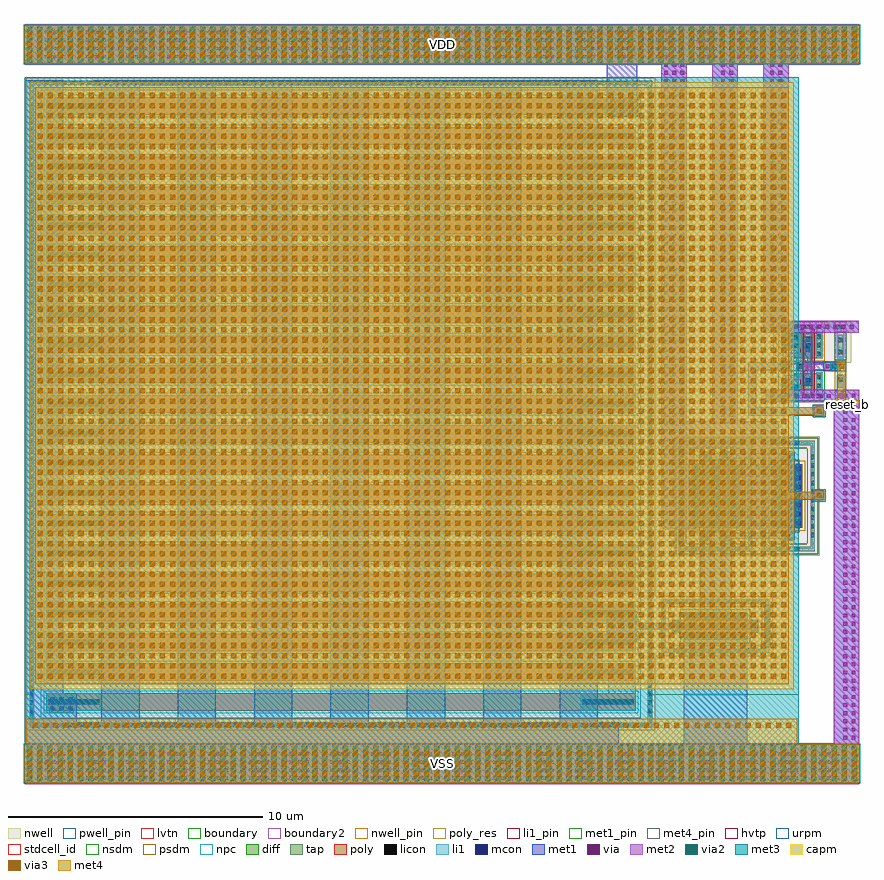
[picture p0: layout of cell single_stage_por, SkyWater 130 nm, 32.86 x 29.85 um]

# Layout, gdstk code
from math import pi, radians
import gdstk
lib = gdstk.Library(unit=1e-6, precision=1e-09)
def R(c, l, rs):  # rectangles x0, y0, x1, y1
    for r in rs: c.add(gdstk.rectangle(r[:2], r[2:], *l))
def A(c, l, x, y, w, h, nx, ny, dx, dy):  # array of equal rectangles
    R(c, l, [(x+i*dx, y+j*dy, x+i*dx+w, y+j*dy+h) for i in range(nx) for j in range(ny)])
def P(c, l, *ps):  # polygons
    for p in ps: c.add(gdstk.Polygon(p, *l))
nwell_pin = (64, 16)
nwell = (64, 20)
diff = (65, 20)
tap = (65, 44)
poly_res = (66, 13)
poly = (66, 20)
licon = (66, 44)
li1_pin = (67, 16)
li1 = (67, 20)
mcon = (67, 44)
met1_pin = (68, 16)
met1 = (68, 20)
via = (68, 44)
met2 = (69, 20)
via2 = (69, 44)
met3 = (70, 20)
via3 = (70, 44)
met4_pin = (71, 16)
met4 = (71, 20)
hvtp = (78, 44)
urpm = (79, 20)
stdcell_id = (81, 4)
capm = (89, 44)
nsdm = (93, 44)
psdm = (94, 20)
npc = (95, 20)
pwell_pin = (122, 16)
lvtn = (125, 44)
boundary = (235, 4)
boundary2 = (236, 0)

sky130_fd_pr__res_xhigh_ = lib.new_cell('sky130_fd_pr__res_xhigh_po_0p69_JJJUAV')
R(sky130_fd_pr__res_xhigh_, tap, [(-12.695,-12.23,12.695,-12.06), (-12.695,-12.06,-12.525,12.06), (12.525,-12.06,12.695,12.06), (-12.695,12.06,12.695,12.23)])
A(sky130_fd_pr__res_xhigh_, poly_res, -12.045, -9.5, 0.69, 19, 21, 1, 1.17, 0)
A(sky130_fd_pr__res_xhigh_, poly, -12.045, -11.58, 0.69, 23.16, 21, 1, 1.17, 0)
A(sky130_fd_pr__res_xhigh_, licon, -12.155, -12.23, 0.17, 0.17, 72, 2, 0.34, 24.29)
A(sky130_fd_pr__res_xhigh_, licon, -12.695, -11.645, 0.17, 0.17, 1, 69, 0, 0.34)
A(sky130_fd_pr__res_xhigh_, licon, 12.525, -11.645, 0.17, 0.17, 1, 69, 0, 0.34)
A(sky130_fd_pr__res_xhigh_, licon, -11.795, -11.5, 0.19, 2, 21, 2, 1.17, 21)
A(sky130_fd_pr__res_xhigh_, li1, -12.045, -11.58, 0.69, 2.16, 21, 2, 1.17, 21)
R(sky130_fd_pr__res_xhigh_, li1, [(-12.695,-12.23,12.695,-12.06), (-12.695,-12.06,-12.525,12.06), (12.525,-12.06,12.695,12.06), (-12.695,12.06,12.695,12.23)])
A(sky130_fd_pr__res_xhigh_, mcon, -11.245, -12.23, 0.17, 0.17, 63, 1, 0.36, 0)
A(sky130_fd_pr__res_xhigh_, mcon, 12.525, -10.705, 0.17, 0.17, 1, 60, 0, 0.36)
A(sky130_fd_pr__res_xhigh_, mcon, -12.695, -9.625, 0.17, 0.17, 1, 54, 0, 0.36)
R(sky130_fd_pr__res_xhigh_, met1, [(-11.335,-12.26,11.335,-12.03), (12.495,-10.915,12.725,10.915), (-12.725,-9.71,-12.495,9.71)])
R(sky130_fd_pr__res_xhigh_, urpm, [(-12.335,-11.78,12.335,11.78)])
R(sky130_fd_pr__res_xhigh_, psdm, [(-12.82,-12.355,12.82,12.355)])
A(sky130_fd_pr__res_xhigh_, npc, -12.14, -11.675, 0.88, 23.35, 21, 1, 1.17, 0)
R(sky130_fd_pr__res_xhigh_, boundary, [(-12.61,-12.145,12.61,12.145)])

sky130_fd_pr__nfet_01v8_ = lib.new_cell('sky130_fd_pr__nfet_01v8_lvt_ZAB8C6')
R(sky130_fd_pr__nfet_01v8_, diff, [(-0.54,-1.25,0.54,1.25)])
R(sky130_fd_pr__nfet_01v8_, tap, [(-1.05,-2.12,1.05,-1.95), (-1.05,-1.95,-0.88,1.95), (0.88,-1.95,1.05,1.95), (-1.05,1.95,1.05,2.12)])
R(sky130_fd_pr__nfet_01v8_, poly, [(-0.25,-1.69,0.25,1.69)])
A(sky130_fd_pr__nfet_01v8_, licon, -0.425, -2.12, 0.17, 0.17, 3, 2, 0.34, 4.07)
A(sky130_fd_pr__nfet_01v8_, licon, -1.05, -1.615, 0.17, 0.17, 1, 10, 0, 0.34)
A(sky130_fd_pr__nfet_01v8_, licon, 0.88, -1.615, 0.17, 0.17, 1, 10, 0, 0.34)
A(sky130_fd_pr__nfet_01v8_, licon, -0.48, -1.105, 0.17, 0.17, 1, 7, 0, 0.34)
A(sky130_fd_pr__nfet_01v8_, licon, 0.31, -1.105, 0.17, 0.17, 1, 7, 0, 0.34)
R(sky130_fd_pr__nfet_01v8_, licon, [(-0.085,-1.61,0.085,-1.44), (-0.085,1.44,0.085,1.61)])
R(sky130_fd_pr__nfet_01v8_, li1, [(-1.05,-2.12,1.05,-1.95), (-1.05,-1.95,-0.88,1.95), (0.88,-1.95,1.05,1.95), (-0.25,-1.61,0.25,-1.44), (-0.48,-1.27,-0.31,1.27), (0.31,-1.27,0.48,1.27), (-0.25,1.44,0.25,1.61), (-1.05,1.95,1.05,2.12)])
A(sky130_fd_pr__nfet_01v8_, mcon, -0.625, -2.12, 0.17, 0.17, 4, 1, 0.36, 0)
A(sky130_fd_pr__nfet_01v8_, mcon, -1.05, -1.345, 0.17, 0.17, 1, 8, 0, 0.36)
A(sky130_fd_pr__nfet_01v8_, mcon, -0.48, -1.165, 0.17, 0.17, 1, 7, 0, 0.36)
A(sky130_fd_pr__nfet_01v8_, mcon, 0.31, -1.165, 0.17, 0.17, 1, 7, 0, 0.36)
R(sky130_fd_pr__nfet_01v8_, mcon, [(-0.085,-1.61,0.085,-1.44), (-0.085,1.44,0.085,1.61)])
R(sky130_fd_pr__nfet_01v8_, met1, [(-0.85,-2.15,0.85,-1.92), (-0.23,-1.64,0.23,-1.41), (-1.08,-1.525,-0.85,1.525), (-0.51,-1.25,-0.28,1.25), (0.28,-1.25,0.51,1.25), (-0.23,1.41,0.23,1.64)])
R(sky130_fd_pr__nfet_01v8_, nsdm, [(-0.665,-1.375,0.665,1.375)])
R(sky130_fd_pr__nfet_01v8_, psdm, [(-1.175,-2.245,1.175,-1.825), (-1.175,-1.825,-0.755,1.825), (0.755,-1.825,1.175,1.825), (-1.175,1.825,1.175,2.245)])
R(sky130_fd_pr__nfet_01v8_, npc, [(-0.185,-1.71,0.185,-1.34), (-0.185,1.34,0.185,1.71)])
R(sky130_fd_pr__nfet_01v8_, lvtn, [(-0.43,-1.43,0.43,1.43)])
R(sky130_fd_pr__nfet_01v8_, boundary, [(-0.965,-2.035,0.965,2.035)])

sky130_fd_pr__pfet_01v8_ = lib.new_cell('sky130_fd_pr__pfet_01v8_hvt_RUWLFK')
R(sky130_fd_pr__pfet_01v8_, nwell, [(-1.625,-2.345,1.625,2.345)])
R(sky130_fd_pr__pfet_01v8_, diff, [(-0.935,-1.25,0.935,1.25)])
R(sky130_fd_pr__pfet_01v8_, tap, [(-1.445,-2.165,1.445,-1.995), (-1.445,-1.995,-1.275,1.995), (1.275,-1.995,1.445,1.995), (-1.445,1.995,1.445,2.165)])
R(sky130_fd_pr__pfet_01v8_, poly, [(-0.645,-1.735,-0.145,1.735), (0.145,-1.735,0.645,1.735)])
A(sky130_fd_pr__pfet_01v8_, licon, -0.935, -2.165, 0.17, 0.17, 6, 2, 0.34, 4.16)
A(sky130_fd_pr__pfet_01v8_, licon, -1.445, -1.615, 0.17, 0.17, 1, 10, 0, 0.34)
A(sky130_fd_pr__pfet_01v8_, licon, 1.275, -1.615, 0.17, 0.17, 1, 10, 0, 0.34)
A(sky130_fd_pr__pfet_01v8_, licon, -0.875, -1.105, 0.17, 0.17, 3, 7, 0.79, 0.34)
R(sky130_fd_pr__pfet_01v8_, licon, [(-0.48,-1.655,-0.31,-1.485), (0.31,-1.655,0.48,-1.485), (-0.48,1.485,-0.31,1.655), (0.31,1.485,0.48,1.655)])
A(sky130_fd_pr__pfet_01v8_, li1, -0.875, -1.27, 0.17, 2.54, 3, 1, 0.79, 0)
R(sky130_fd_pr__pfet_01v8_, li1, [(-1.445,-2.165,1.445,-1.995), (-1.445,-1.995,-1.275,1.995), (1.275,-1.995,1.445,1.995), (-0.645,-1.655,-0.145,-1.485), (0.145,-1.655,0.645,-1.485), (-0.645,1.485,-0.145,1.655), (0.145,1.485,0.645,1.655), (-1.445,1.995,1.445,2.165)])
A(sky130_fd_pr__pfet_01v8_, mcon, -1.445, -1.705, 0.17, 0.17, 1, 10, 0, 0.36)
A(sky130_fd_pr__pfet_01v8_, mcon, -0.875, -1.165, 0.17, 0.17, 3, 7, 0.79, 0.36)
A(sky130_fd_pr__pfet_01v8_, mcon, 1.275, -0.985, 0.17, 0.17, 1, 6, 0, 0.36)
R(sky130_fd_pr__pfet_01v8_, mcon, [(-0.48,-1.655,-0.31,-1.485), (0.31,-1.655,0.48,-1.485), (-0.48,1.485,-0.31,1.655), (0.31,1.485,0.48,1.655)])
A(sky130_fd_pr__pfet_01v8_, met1, -0.905, -1.25, 0.23, 2.5, 3, 1, 0.79, 0)
R(sky130_fd_pr__pfet_01v8_, met1, [(-1.475,-1.855,-1.245,1.855), (-0.625,-1.685,-0.165,-1.455), (0.165,-1.685,0.625,-1.455), (1.245,-1.06,1.475,1.06), (-0.625,1.455,-0.165,1.685), (0.165,1.455,0.625,1.685)])
R(sky130_fd_pr__pfet_01v8_, hvtp, [(-0.825,-1.43,0.825,1.43)])
R(sky130_fd_pr__pfet_01v8_, nsdm, [(-1.57,-2.29,1.57,-1.87), (-1.57,-1.87,-1.15,1.87), (1.15,-1.87,1.57,1.87), (-1.57,1.87,1.57,2.29)])
R(sky130_fd_pr__pfet_01v8_, psdm, [(-1.06,-1.375,1.06,1.375)])
R(sky130_fd_pr__pfet_01v8_, npc, [(-0.58,-1.755,-0.21,-1.385), (0.21,-1.755,0.58,-1.385), (-0.58,1.385,-0.21,1.755), (0.21,1.385,0.58,1.755)])
R(sky130_fd_pr__pfet_01v8_, boundary, [(-1.36,-2.08,1.36,2.08)])

c_sky130_fd_pr__pfet_01v8_ = lib.new_cell('sky130_fd_pr__pfet_01v8_hvt_48T65H')
R(c_sky130_fd_pr__pfet_01v8_, nwell, [(-1.23,-2.345,1.23,2.345)])
R(c_sky130_fd_pr__pfet_01v8_, diff, [(-0.54,-1.25,0.54,1.25)])
R(c_sky130_fd_pr__pfet_01v8_, tap, [(-1.05,-2.165,1.05,-1.995), (-1.05,-1.995,-0.88,1.995), (0.88,-1.995,1.05,1.995), (-1.05,1.995,1.05,2.165)])
R(c_sky130_fd_pr__pfet_01v8_, poly, [(-0.25,-1.735,0.25,1.735)])
A(c_sky130_fd_pr__pfet_01v8_, licon, -0.425, -2.165, 0.17, 0.17, 3, 2, 0.34, 4.16)
A(c_sky130_fd_pr__pfet_01v8_, licon, -1.05, -1.615, 0.17, 0.17, 1, 10, 0, 0.34)
A(c_sky130_fd_pr__pfet_01v8_, licon, 0.88, -1.615, 0.17, 0.17, 1, 10, 0, 0.34)
A(c_sky130_fd_pr__pfet_01v8_, licon, -0.48, -1.105, 0.17, 0.17, 1, 7, 0, 0.34)
A(c_sky130_fd_pr__pfet_01v8_, licon, 0.31, -1.105, 0.17, 0.17, 1, 7, 0, 0.34)
R(c_sky130_fd_pr__pfet_01v8_, licon, [(-0.085,-1.655,0.085,-1.485), (-0.085,1.485,0.085,1.655)])
R(c_sky130_fd_pr__pfet_01v8_, li1, [(-1.05,-2.165,1.05,-1.995), (-1.05,-1.995,-0.88,1.995), (0.88,-1.995,1.05,1.995), (-0.25,-1.655,0.25,-1.485), (-0.48,-1.27,-0.31,1.27), (0.31,-1.27,0.48,1.27), (-0.25,1.485,0.25,1.655), (-1.05,1.995,1.05,2.165)])
A(c_sky130_fd_pr__pfet_01v8_, mcon, -0.48, -1.165, 0.17, 0.17, 1, 7, 0, 0.36)
A(c_sky130_fd_pr__pfet_01v8_, mcon, 0.31, -1.165, 0.17, 0.17, 1, 7, 0, 0.36)
A(c_sky130_fd_pr__pfet_01v8_, mcon, -1.05, -0.985, 0.17, 0.17, 1, 6, 0, 0.36)
R(c_sky130_fd_pr__pfet_01v8_, mcon, [(-0.085,-1.655,0.085,-1.485), (-0.085,1.485,0.085,1.655)])
R(c_sky130_fd_pr__pfet_01v8_, met1, [(-0.23,-1.685,0.23,-1.455), (-0.51,-1.25,-0.28,1.25), (0.28,-1.25,0.51,1.25), (-1.08,-1.06,-0.85,1.06), (-0.23,1.455,0.23,1.685)])
R(c_sky130_fd_pr__pfet_01v8_, hvtp, [(-0.43,-1.43,0.43,1.43)])
R(c_sky130_fd_pr__pfet_01v8_, nsdm, [(-1.175,-2.29,1.175,-1.87), (-1.175,-1.87,-0.755,1.87), (0.755,-1.87,1.175,1.87), (-1.175,1.87,1.175,2.29)])
R(c_sky130_fd_pr__pfet_01v8_, psdm, [(-0.665,-1.375,0.665,1.375)])
R(c_sky130_fd_pr__pfet_01v8_, npc, [(-0.185,-1.755,0.185,-1.385), (-0.185,1.385,0.185,1.755)])
R(c_sky130_fd_pr__pfet_01v8_, boundary, [(-0.965,-2.08,0.965,2.08)])

sky130_fd_sc_hd__buf_2 = lib.new_cell('sky130_fd_sc_hd__buf_2')
R(sky130_fd_sc_hd__buf_2, nwell_pin, [(0.145,2.635,0.315,2.805)])
R(sky130_fd_sc_hd__buf_2, nwell, [(-0.19,1.305,2.03,2.91)])
P(sky130_fd_sc_hd__buf_2, diff, [(1.705,2.485),(0.62,2.485),(0.62,2.445),(0.135,2.445),(0.135,1.805),(0.62,1.805),(0.62,1.485),(1.705,1.485)],
  [(1.705,0.885),(0.62,0.885),(0.62,0.655),(0.135,0.655),(0.135,0.235),(1.705,0.235)])
P(sky130_fd_sc_hd__buf_2, poly, [(1.44,2.615),(1.29,2.615),(1.29,1.325),(1.02,1.325),(1.02,2.615),(0.87,2.615),(0.87,1.325),(0.755,1.325),(0.755,0.995),(0.87,0.995),(0.87,0.105),(1.02,0.105),(1.02,0.995),(1.29,0.995),(1.29,0.105),(1.44,0.105)],
  [(0.545,2.575),(0.395,2.575),(0.395,1.325),(0.135,1.325),(0.135,0.995),(0.395,0.995),(0.395,0.105),(0.545,0.105)])
A(sky130_fd_sc_hd__buf_2, licon, 1.49, 1.575, 0.17, 0.17, 1, 3, 0, 0.34)
R(sky130_fd_sc_hd__buf_2, licon, [(0.64,0.295,0.81,0.465), (1.49,0.315,1.66,0.485), (0.175,0.36,0.345,0.53), (1.07,0.445,1.24,0.615), (1.49,0.655,1.66,0.825), (0.185,1.075,0.355,1.245), (0.805,1.075,0.975,1.245), (1.07,1.73,1.24,1.9), (0.175,1.875,0.345,2.045), (0.64,1.875,0.81,2.045), (1.07,2.135,1.24,2.305), (0.175,2.215,0.345,2.385), (0.64,2.215,0.81,2.385)])
R(sky130_fd_sc_hd__buf_2, li1_pin, [(0.145,-0.085,0.315,0.085), (1.06,0.425,1.23,0.595), (0.145,1.105,0.315,1.275), (1.06,1.785,1.23,1.955), (1.06,2.125,1.23,2.295), (0.145,2.635,0.315,2.805)])
R(sky130_fd_sc_hd__buf_2, li1, [(0.085,0.985,0.44,1.355)])
P(sky130_fd_sc_hd__buf_2, li1, [(0.975,1.325),(0.89,1.325),(0.89,1.705),(0.345,1.705),(0.345,2.465),(0.175,2.465),(0.175,1.535),(0.72,1.535),(0.72,0.805),(0.175,0.805),(0.175,0.255),(0.345,0.255),(0.345,0.635),(0.89,0.635),(0.89,0.995),(0.975,0.995)],
  [(1.315,2.465),(1.06,2.465),(1.06,1.56),(1.145,1.56),(1.145,0.83),(1.06,0.83),(1.06,0.255),(1.315,0.255)],
  [(1.84,2.805),(0,2.805),(0,2.635),(0.56,2.635),(0.56,1.875),(0.89,1.875),(0.89,2.635),(1.49,2.635),(1.49,1.485),(1.75,1.485),(1.75,2.635),(1.84,2.635)],
  [(1.84,0.085),(1.75,0.085),(1.75,0.925),(1.49,0.925),(1.49,0.085),(0.89,0.085),(0.89,0.465),(0.56,0.465),(0.56,0.085),(0,0.085),(0,-0.085),(1.84,-0.085)])
A(sky130_fd_sc_hd__buf_2, mcon, 0.145, -0.085, 0.17, 0.17, 4, 2, 0.46, 2.72)
R(sky130_fd_sc_hd__buf_2, met1_pin, [(0.145,-0.085,0.315,0.085), (0.145,2.635,0.315,2.805)])
R(sky130_fd_sc_hd__buf_2, hvtp, [(0,1.25,1.84,2.72)])
R(sky130_fd_sc_hd__buf_2, stdcell_id, [(0,0,1.84,2.72)])
R(sky130_fd_sc_hd__buf_2, nsdm, [(0,-0.19,1.84,1.015)])
R(sky130_fd_sc_hd__buf_2, psdm, [(0,1.355,1.84,2.91)])
R(sky130_fd_sc_hd__buf_2, npc, [(0,0.975,1.84,1.345)])
R(sky130_fd_sc_hd__buf_2, pwell_pin, [(0.145,-0.085,0.315,0.085)])
R(sky130_fd_sc_hd__buf_2, boundary2, [(0,0,1.84,2.72)])
sky130_fd_sc_hd__buf_2.add(gdstk.FlexPath([(0,0),(1.84,0)], 0.48, ends="flush", simple_path=True, layer=68, datatype=20))  # met1
sky130_fd_sc_hd__buf_2.add(gdstk.FlexPath([(0,2.72),(1.84,2.72)], 0.48, ends="flush", simple_path=True, layer=68, datatype=20))  # met1
sky130_fd_sc_hd__buf_2.add(gdstk.Label('VPWR', (0.23,2.72), layer=68, texttype=5))
sky130_fd_sc_hd__buf_2.add(gdstk.Label('VGND', (0.23,0), layer=68, texttype=5))
sky130_fd_sc_hd__buf_2.add(gdstk.Label('VPWR', (0.23,2.72), layer=67, texttype=5))
sky130_fd_sc_hd__buf_2.add(gdstk.Label('VGND', (0.23,0), layer=67, texttype=5))
sky130_fd_sc_hd__buf_2.add(gdstk.Label('X', (1.145,0.51), layer=67, texttype=5))
sky130_fd_sc_hd__buf_2.add(gdstk.Label('X', (1.145,1.87), layer=67, texttype=5))
sky130_fd_sc_hd__buf_2.add(gdstk.Label('X', (1.145,2.21), layer=67, texttype=5))
sky130_fd_sc_hd__buf_2.add(gdstk.Label('A', (0.23,1.19), layer=67, texttype=5))
sky130_fd_sc_hd__buf_2.add(gdstk.Label('VPB', (0.23,2.72), layer=64, texttype=5))
sky130_fd_sc_hd__buf_2.add(gdstk.Label('VNB', (0.23,0), layer=64, texttype=59))
sky130_fd_sc_hd__buf_2.add(gdstk.Label('buf_2', (0,0), layer=83, texttype=44))

sky130_fd_sc_hd__tapvpwr = lib.new_cell('sky130_fd_sc_hd__tapvpwrvgnd_1')
R(sky130_fd_sc_hd__tapvpwr, nwell, [(-0.19,1.305,0.65,2.91)])
R(sky130_fd_sc_hd__tapvpwr, tap, [(0.145,0.32,0.315,0.845), (0.145,1.525,0.315,2.4)])
R(sky130_fd_sc_hd__tapvpwr, licon, [(0.145,0.555,0.315,0.725), (0.145,1.645,0.315,1.815), (0.145,2.11,0.315,2.28)])
R(sky130_fd_sc_hd__tapvpwr, li1, [(0,-0.085,0.46,0.085), (0.085,0,0.375,0.81), (0.085,1.47,0.375,2.72), (0,2.635,0.46,2.805)])
R(sky130_fd_sc_hd__tapvpwr, mcon, [(0.145,-0.085,0.315,0.085), (0.145,2.635,0.315,2.805)])
R(sky130_fd_sc_hd__tapvpwr, met1_pin, [(0.105,-0.09,0.36,0.1), (0.11,2.62,0.375,2.765)])
R(sky130_fd_sc_hd__tapvpwr, met1, [(0,-0.24,0.46,0.24), (0,2.48,0.46,2.96)])
R(sky130_fd_sc_hd__tapvpwr, hvtp, [(0,1.25,0.46,2.72)])
R(sky130_fd_sc_hd__tapvpwr, stdcell_id, [(0,0,0.46,2.72)])
R(sky130_fd_sc_hd__tapvpwr, nsdm, [(0,-0.19,0.46,0.19), (0,1.395,0.46,2.53)])
R(sky130_fd_sc_hd__tapvpwr, psdm, [(0,0.19,0.46,0.975), (0,2.53,0.46,2.91)])
sky130_fd_sc_hd__tapvpwr.add(gdstk.Label('VPWR', (0.23,2.72), layer=68, texttype=5))
sky130_fd_sc_hd__tapvpwr.add(gdstk.Label('VGND', (0.23,0), layer=68, texttype=5))
sky130_fd_sc_hd__tapvpwr.add(gdstk.Label('tapvpwrvgnd_1', (0,0), layer=83, texttype=44))

sky130_fd_pr__cap_mim_m3 = lib.new_cell('sky130_fd_pr__cap_mim_m3_1_826CVA')
R(sky130_fd_pr__cap_mim_m3, met3, [(-12.855,-15.2,12.855,15.2)])
A(sky130_fd_pr__cap_mim_m3, via3, 12.495, -14.9, 0.2, 0.2, 1, 75, 0, 0.4)
A(sky130_fd_pr__cap_mim_m3, via3, -12.23, -14.7, 0.2, 0.2, 58, 74, 0.4, 0.4)
R(sky130_fd_pr__cap_mim_m3, met4, [(12.355,-15.14,12.835,15.14), (-12.46,-14.805,11,14.805)])
R(sky130_fd_pr__cap_mim_m3, capm, [(-12.655,-15,11.195,15)])
R(sky130_fd_pr__cap_mim_m3, boundary, [(-12.855,-15.2,11.395,15.2)])

single_stage_por = lib.new_cell('single_stage_por')
A(single_stage_por, li1, 22.45, 15.45, 1.08, 1.17, 1, 10, 0, 2.34)
A(single_stage_por, li1, 0.37, 16.62, 1.08, 1.17, 1, 10, 0, 2.34)
R(single_stage_por, li1, [(0.49,15.05,1.45,15.68), (30.22,27.91,30.4,28.26), (29.26,28.51,29.51,28.77), (30.22,29.2,30.4,29.72), (22.46,38.51,23.53,39.2)])
A(single_stage_por, mcon, 0.525, 15.1, 0.17, 0.17, 3, 2, 0.36, 0.36)
A(single_stage_por, mcon, 22.545, 17.965, 0.17, 0.17, 3, 3, 0.36, 0.36)
A(single_stage_por, mcon, 22.55, 38.59, 0.17, 0.17, 3, 2, 0.36, 0.36)
R(single_stage_por, mcon, [(30.225,28,30.395,28.17), (29.3,28.555,29.47,28.725), (30.225,29.375,30.395,29.545)])
A(single_stage_por, met1, 2.54, 14.49, 1.5, 25.39, 7, 1, 3, 0)
R(single_stage_por, met1, [(-0.51,12.28,32.35,13.78), (-0.46,13.78,22.865,14.49), (25.41,13.78,27.91,18.12), (31.3,13.78,32.3,27.23), (-0.46,14.49,1.04,14.6), (-0.46,14.6,1.57,15.8), (-0.46,15.8,1.04,39.88), (22.39,17.81,23.56,18.31), (22.39,18.31,28.27,18.54), (22.39,18.54,23.56,19.01), (26.55,18.755,26.78,18.81), (26.04,18.81,27.31,21.86), (26.04,21.86,29.6,21.89), (26.04,21.89,29.64,21.94), (26.16,21.94,29.64,22.09), (26.16,22.09,26.39,25), (26.55,22.09,26.78,22.53), (26.95,22.09,27.18,25), (29.41,22.09,29.64,25), (24.54,22.295,25.88,24.795), (27.43,22.295,29.19,24.795), (29.83,23.39,30.9,23.71), (30.58,23.71,30.9,23.74), (26.55,24.75,26.78,25), (24.54,24.795,25.54,40.53), (26.16,25,29.64,25.23), (26.16,25.23,26.39,25.26), (26.95,25.23,27.18,25.26), (26.54,26.39,27.54,40.53), (27.94,26.7,30.9,27.02), (27.94,27.02,28.26,28.48), (30.58,27.02,30.9,27.05), (28.64,27.23,32.3,27.71), (30.08,27.87,30.46,28.48), (29.2,28.45,29.57,28.48), (27.94,28.48,29.57,28.8), (30.08,28.48,31.25,28.8), (29.2,28.8,29.57,28.83), (30.08,28.8,30.46,29.8), (28.54,29.95,32.28,30.43), (28.54,30.43,29.54,40.53), (22.4,38.45,23.59,40.53), (-0.51,40.53,32.35,42.03)])
A(single_stage_por, via, -0.315, 12.375, 0.15, 0.15, 102, 4, 0.32, 0.32)
A(single_stage_por, via, 31.685, 13.655, 0.15, 0.15, 1, 44, 0, 0.32)
A(single_stage_por, via, 32.005, 13.655, 0.15, 0.15, 1, 44, 0, 0.32)
A(single_stage_por, via, 27.595, 22.35, 0.15, 0.15, 5, 8, 0.32, 0.32)
A(single_stage_por, via, 24.645, 22.485, 0.15, 0.15, 4, 7, 0.32, 0.32)
A(single_stage_por, via, 24.645, 24.725, 0.15, 0.15, 3, 50, 0.32, 0.32)
A(single_stage_por, via, 26.885, 26.645, 0.15, 0.15, 1, 44, 0, 0.32)
A(single_stage_por, via, 27.205, 26.645, 0.15, 0.15, 1, 44, 0, 0.32)
A(single_stage_por, via, 28.795, 27.395, 0.15, 0.15, 8, 1, 0.32, 0)
A(single_stage_por, via, 29.695, 30.115, 0.15, 0.15, 8, 1, 0.32, 0)
A(single_stage_por, via, 28.805, 30.165, 0.15, 0.15, 1, 33, 0, 0.32)
A(single_stage_por, via, 29.125, 30.165, 0.15, 0.15, 1, 33, 0, 0.32)
A(single_stage_por, via, -0.315, 40.725, 0.15, 0.15, 102, 4, 0.32, 0.32)
R(single_stage_por, via, [(30.665,23.49,30.815,23.64), (30.665,26.8,30.815,26.95), (30.985,28.565,31.135,28.715)])
R(single_stage_por, met2, [(-0.46,12.23,32.3,13.83), (31.3,13.83,32.3,27.23), (24.59,22.245,25.83,24.795), (27.48,22.245,29.14,25.48), (30.58,23.37,30.9,23.42), (30.55,23.42,30.93,23.71), (30.58,23.71,30.9,23.76), (24.54,24.795,25.83,25.48), (24.54,25.48,29.14,26.48), (24.54,26.48,25.54,40.48), (26.54,26.48,27.54,40.48), (30.58,26.68,30.9,26.73), (30.55,26.73,30.93,27.02), (30.58,27.02,30.9,27.07), (28.64,27.23,32.3,27.71), (30.9,28.45,31.22,28.48), (30.9,28.48,31.575,28.8), (30.9,28.8,31.22,28.83), (28.54,29.95,32.28,30.43), (28.54,30.43,29.54,40.48), (-0.46,40.48,32.3,42.08)])
A(single_stage_por, via2, -0.38, 12.33, 0.2, 0.2, 82, 4, 0.4, 0.4)
A(single_stage_por, via2, -0.38, 40.58, 0.2, 0.2, 82, 4, 0.4, 0.4)
R(single_stage_por, via2, [(30.64,23.465,30.84,23.665), (30.64,26.775,30.84,26.975), (31.27,28.54,31.47,28.74)])
R(single_stage_por, met3, [(-0.51,12.255,32.35,13.805), (-0.46,13.805,29.94,14.3), (30.48,23.32,31,23.81), (30.48,26.63,31,27.12), (31.17,28.44,31.8,28.84), (-0.51,40.505,32.35,42.055)])
A(single_stage_por, via3, -0.38, 12.53, 0.2, 0.2, 82, 3, 0.4, 0.4)
A(single_stage_por, via3, -0.38, 40.78, 0.2, 0.2, 82, 3, 0.4, 0.4)
R(single_stage_por, via3, [(30.64,23.465,30.84,23.665), (30.64,26.775,30.84,26.975), (31.51,28.54,31.71,28.74)])
R(single_stage_por, met4_pin, [(-0.465,12.275,32.305,13.785), (31.35,27.005,32.35,27.305), (-0.465,40.525,32.305,42.035)])
R(single_stage_por, met4, [(-0.465,12.275,32.305,13.785), (-0.4,13.785,29.88,14.37), (30.55,23.385,30.93,23.415), (29.48,23.415,30.93,23.715), (30.55,23.715,30.93,23.745), (30.55,26.695,30.93,26.725), (29.38,26.725,30.93,27.025), (31.35,27.005,32.35,27.305), (30.55,27.025,30.93,27.055), (31.45,27.305,31.77,28.475), (31.445,28.475,31.775,28.805), (-0.465,40.525,32.305,42.035)])
R(single_stage_por, nsdm, [(28.235,21.255,28.345,25.835)])
R(single_stage_por, psdm, [(24.305,17.255,24.415,19.605)])
single_stage_por.add(gdstk.Reference(sky130_fd_pr__res_xhigh_, (11.95,27.155), rotation=3*pi/2))
single_stage_por.add(gdstk.Reference(sky130_fd_pr__nfet_01v8_, (26.66,18.43), rotation=pi/2))
single_stage_por.add(gdstk.Reference(sky130_fd_pr__pfet_01v8_, (26.665,23.545)))
single_stage_por.add(gdstk.Reference(c_sky130_fd_pr__pfet_01v8_, (29.52,23.545)))
single_stage_por.add(gdstk.Reference(sky130_fd_sc_hd__buf_2, (29.12,27.47)))
single_stage_por.add(gdstk.Reference(sky130_fd_sc_hd__tapvpwr, (31.34,27.47)))
single_stage_por.add(gdstk.Reference(sky130_fd_pr__cap_mim_m3, (14.74,27.14), rotation=3*pi/2, x_reflection=True))
single_stage_por.add(gdstk.Label('VDD', (15.92,41.28), layer=71, texttype=5))
single_stage_por.add(gdstk.Label('VSS', (15.92,13.03), layer=71, texttype=5))
single_stage_por.add(gdstk.Label('reset_b', (31.85,27.155), layer=71, texttype=5))

lib.write_gds('single_stage_por.gds')
